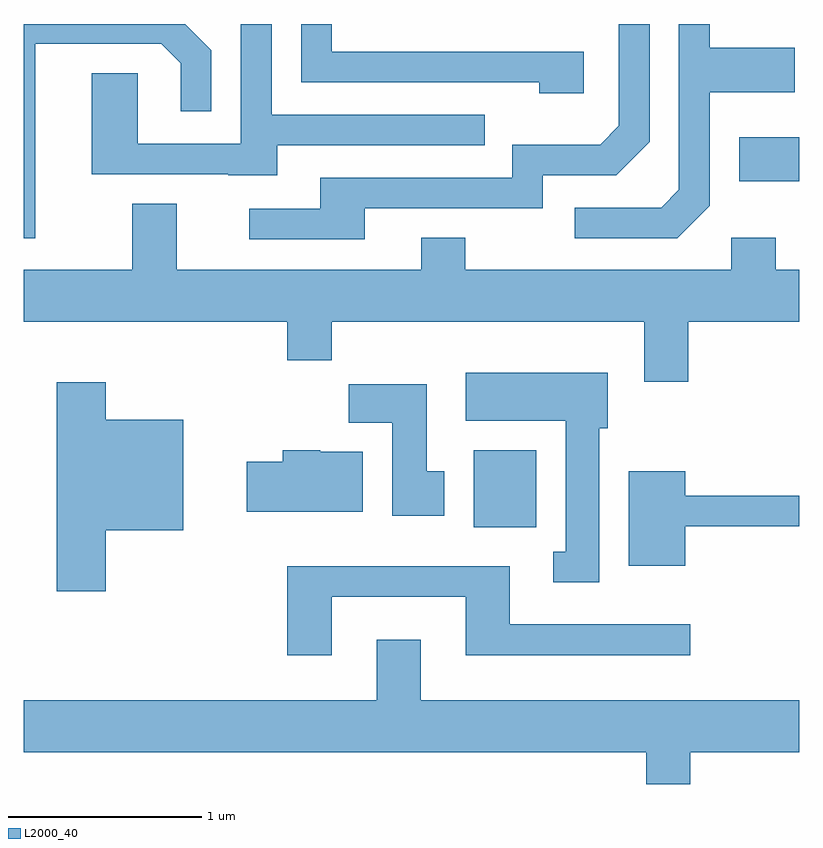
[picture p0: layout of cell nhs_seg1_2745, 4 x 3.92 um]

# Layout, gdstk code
import gdstk
lib = gdstk.Library(unit=1e-6, precision=1e-09)
def R(c, l, rs):  # rectangles x0, y0, x1, y1
    for r in rs: c.add(gdstk.rectangle(r[:2], r[2:], *l))
def P(c, l, *ps):  # polygons
    for p in ps: c.add(gdstk.Polygon(p, *l))
L2000_40 = (2000, 40)

nhs_seg1_2745 = lib.new_cell('nhs_seg1_2745')
R(nhs_seg1_2745, L2000_40, [(269.931,965.116,270.254,965.514), (271.301,966.901,271.611,967.129)])
P(nhs_seg1_2745, L2000_40, [(268.919,967.086),(269.988,967.086),(269.988,967.244),(268.889,967.244),(268.889,967.712),(268.731,967.712),(268.731,967.094),(268.199,967.094),(268.199,967.459),(267.961,967.459),(267.961,966.936),(268.665,966.936),(268.665,966.931),(268.919,966.931)],
  [(271.149,966.774),(271.149,967.361),(271.589,967.361),(271.589,967.589),(271.149,967.589),(271.149,967.712),(270.991,967.712),(270.991,966.857),(270.899,966.764),(270.453,966.764),(270.453,966.606),(270.982,966.606)],
  [(270.499,967.569),(269.199,967.569),(269.199,967.712),(269.041,967.712),(269.041,967.411),(270.271,967.411),(270.271,967.356),(270.499,967.356)],
  [(269.369,966.761),(270.289,966.761),(270.289,966.931),(270.667,966.931),(270.839,967.104),(270.839,967.712),(270.681,967.712),(270.681,967.187),(270.584,967.089),(270.131,967.089),(270.131,966.919),(269.141,966.919),(269.141,966.759),(268.773,966.759),(268.773,966.601),(269.369,966.601)],
  [(267.669,967.611),(268.319,967.611),(268.421,967.509),(268.421,967.263),(268.579,967.263),(268.579,967.577),(268.444,967.712),(267.611,967.712),(267.611,966.606),(267.669,966.606)],
  [(271.039,966.176),(271.611,966.176),(271.611,966.444),(271.489,966.444),(271.489,966.609),(271.261,966.609),(271.261,966.444),(269.889,966.444),(269.889,966.609),(269.661,966.609),(269.661,966.444),(268.399,966.444),(268.399,966.784),(268.171,966.784),(268.171,966.444),(267.611,966.444),(267.611,966.176),(268.971,966.176),(268.971,965.976),(269.199,965.976),(269.199,966.176),(270.811,966.176),(270.811,965.866),(271.039,965.866)],
  [(270.579,965.626),(270.624,965.626),(270.624,965.914),(269.891,965.914),(269.891,965.666),(270.406,965.666),(270.406,964.989),(270.343,964.989),(270.343,964.831),(270.579,964.831)],
  [(268.034,965.101),(268.434,965.101),(268.434,965.669),(268.034,965.669),(268.034,965.864),(267.781,965.864),(267.781,964.786),(268.034,964.786)],
  [(269.779,965.404),(269.689,965.404),(269.689,965.854),(269.286,965.854),(269.286,965.656),(269.511,965.656),(269.511,965.176),(269.779,965.176)],
  [(269.359,965.504),(269.14,965.504),(269.14,965.514),(268.946,965.514),(268.946,965.454),(268.761,965.454),(268.761,965.196),(269.359,965.196)],
  [(271.024,965.121),(271.611,965.121),(271.611,965.279),(271.024,965.279),(271.024,965.404),(270.731,965.404),(270.731,964.916),(271.024,964.916)],
  [(269.199,964.756),(269.891,964.756),(269.891,964.456),(271.048,964.456),(271.048,964.614),(270.119,964.614),(270.119,964.914),(268.971,964.914),(268.971,964.456),(269.199,964.456)],
  [(271.049,963.956),(271.611,963.956),(271.611,964.224),(269.659,964.224),(269.659,964.534),(269.431,964.534),(269.431,964.224),(267.611,964.224),(267.611,963.956),(270.821,963.956),(270.821,963.791),(271.049,963.791)])

lib.write_gds('nhs_seg1_2745.gds')
